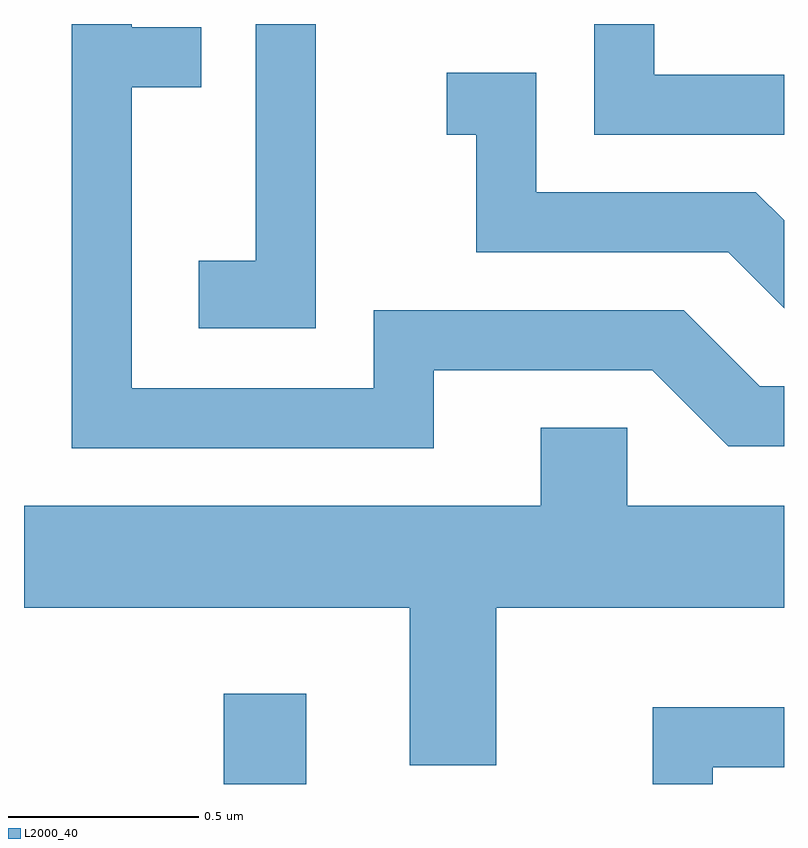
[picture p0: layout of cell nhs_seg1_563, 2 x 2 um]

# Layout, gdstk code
import gdstk
lib = gdstk.Library(unit=1e-6, precision=1e-09)
def R(c, l, rs):  # rectangles x0, y0, x1, y1
    for r in rs: c.add(gdstk.rectangle(r[:2], r[2:], *l))
def P(c, l, *ps):  # polygons
    for p in ps: c.add(gdstk.Polygon(p, *l))
L2000_40 = (2000, 40)

nhs_seg1_563 = lib.new_cell('nhs_seg1_563')
R(nhs_seg1_563, L2000_40, [(190.136,854.712,190.354,854.949)])
P(nhs_seg1_563, L2000_40, [(190.379,856.712),(190.221,856.712),(190.221,856.089),(190.071,856.089),(190.071,855.911),(190.379,855.911)],
  [(191.611,856.579),(191.269,856.579),(191.269,856.712),(191.111,856.712),(191.111,856.421),(191.611,856.421)],
  [(190.689,855.801),(191.264,855.801),(191.464,855.601),(191.611,855.601),(191.611,855.759),(191.547,855.759),(191.347,855.959),(190.531,855.959),(190.531,855.754),(189.894,855.754),(189.894,856.546),(190.078,856.546),(190.078,856.704),(189.894,856.704),(189.894,856.712),(189.736,856.712),(189.736,855.596),(190.689,855.596)],
  [(191.611,856.195),(191.537,856.269),(190.959,856.269),(190.959,856.584),(190.723,856.584),(190.723,856.421),(190.801,856.421),(190.801,856.111),(191.464,856.111),(191.611,855.964)],
  [(190.854,855.176),(191.611,855.176),(191.611,855.444),(191.199,855.444),(191.199,855.649),(190.971,855.649),(190.971,855.444),(189.611,855.444),(189.611,855.176),(190.626,855.176),(190.626,854.761),(190.854,854.761)],
  [(191.424,854.756),(191.611,854.756),(191.611,854.914),(191.266,854.914),(191.266,854.712),(191.424,854.712)])

lib.write_gds('nhs_seg1_563.gds')
